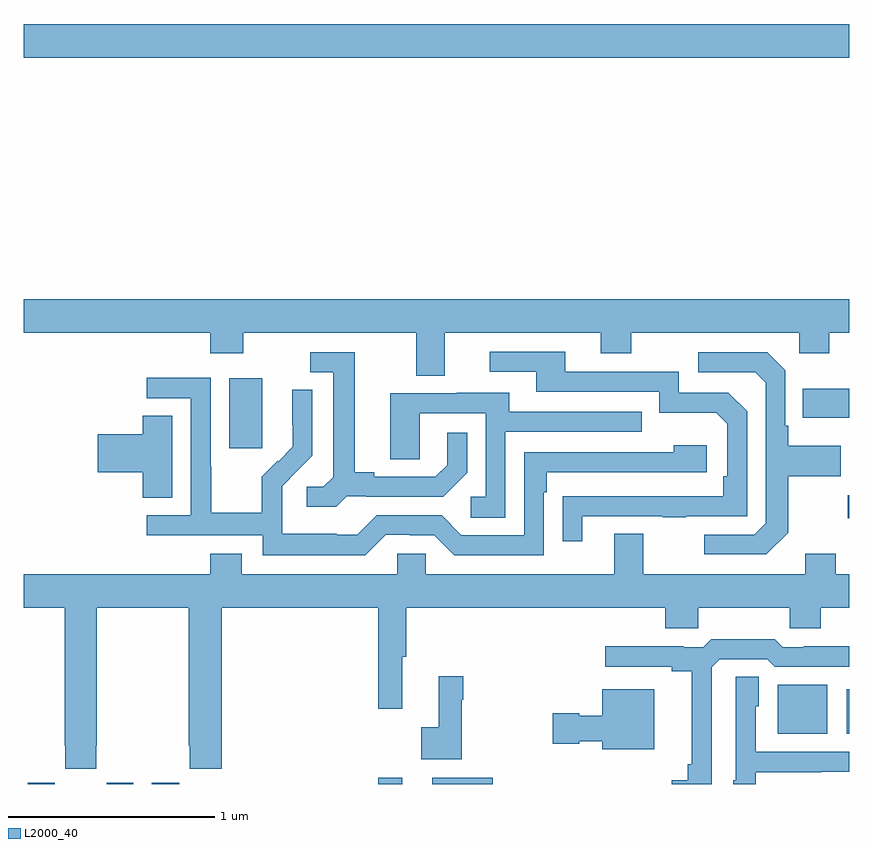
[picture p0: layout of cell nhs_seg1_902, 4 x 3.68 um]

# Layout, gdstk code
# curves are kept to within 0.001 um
import gdstk
lib = gdstk.Library(unit=1e-6, precision=1e-09)
def R(c, l, rs):  # rectangles x0, y0, x1, y1
    for r in rs: c.add(gdstk.rectangle(r[:2], r[2:], *l))
def P(c, l, *ps):  # polygons
    for p in ps: c.add(gdstk.Polygon(p, *l))
L2000_40 = (2000, 40)

nhs_seg1_902 = lib.new_cell('nhs_seg1_902')
R(nhs_seg1_902, L2000_40, [(159.02,564.199,159.15,564.205), (159.402,564.199,159.532,564.205), (159.62,564.199,159.754,564.205), (160.717,564.199,160.834,564.229), (160.979,564.199,161.272,564.229), (162.653,564.443,162.892,564.679), (162.986,564.443,163,564.658), (162.993,565.485,163,565.598), (159.995,565.824,160.156,566.164), (162.775,565.973,163,566.113), (159,567.716,163,567.88)])
P(nhs_seg1_902, L2000_40, [(161.041,566.384),(161.795,566.384),(161.795,566.285),(161.943,566.285),(161.943,566.384),(162.756,566.384),(162.756,566.285),(162.903,566.285),(162.903,566.384),(163,566.384),(163,566.548),(159,566.548),(159,566.384),(159.905,566.384),(159.905,566.285),(160.065,566.285),(160.065,566.384),(160.901,566.384),(160.901,566.176),(161.041,566.176)],
  [(161.707,565.497),(162.097,565.497),(162.097,565.492),(162.209,565.492),(162.209,565.497),(162.504,565.497),(162.504,566.004),(162.414,566.094),(162.174,566.094),(162.174,566.196),(161.623,566.196),(161.623,566.292),(161.259,566.292),(161.259,566.196),(161.483,566.196),(161.483,566.1),(162.078,566.1),(162.078,565.997),(162.355,565.997),(162.408,565.944),(162.408,565.69),(162.388,565.69),(162.388,565.593),(161.611,565.592),(161.611,565.374),(161.707,565.374)],
  [(160.566,565.593),(160.66,565.593),(160.66,565.59),(161.032,565.59),(161.148,565.706),(161.148,565.9),(161.051,565.9),(161.051,565.743),(160.994,565.686),(160.699,565.686),(160.699,565.709),(160.603,565.709),(160.603,566.289),(160.389,566.289),(160.389,566.193),(160.499,566.193),(160.499,565.685),(160.452,565.638),(160.371,565.638),(160.371,565.541),(160.514,565.541)],
  [(162.703,565.417),(162.703,565.69),(162.959,565.69),(162.959,565.837),(162.703,565.837),(162.703,565.933),(162.69,565.933),(162.69,566.202),(162.603,566.289),(162.267,566.289),(162.267,566.193),(162.543,566.193),(162.594,566.142),(162.594,565.461),(162.54,565.407),(162.297,565.407),(162.297,565.311),(162.597,565.311)],
  [(160.755,565.407),(160.871,565.407),(160.871,565.404),(160.989,565.404),(161.085,565.308),(161.52,565.308),(161.52,565.613),(161.533,565.613),(161.533,565.71),(162.31,565.71),(162.31,565.84),(162.149,565.84),(162.149,565.806),(161.424,565.806),(161.424,565.404),(161.121,565.404),(161.025,565.5),(160.71,565.5),(160.617,565.407),(160.517,565.407),(160.517,565.411),(160.254,565.411),(160.254,565.545),(160.252,565.545),(160.252,565.642),(160.398,565.79),(160.398,566.108),(160.301,566.108),(160.301,565.936),(160.304,565.936),(160.304,565.832),(160.233,565.761),(160.23,565.764),(160.153,565.687),(160.153,565.513),(159.909,565.513),(159.909,565.736),(159.906,565.736),(159.906,566.166),(159.597,566.166),(159.597,566.067),(159.81,566.067),(159.81,565.5),(159.597,565.5),(159.597,565.404),(160.158,565.404),(160.158,565.307),(160.655,565.307)],
  [(161.334,565.905),(161.993,565.905),(161.993,566.001),(161.353,566.001),(161.353,566.095),(161.099,566.095),(161.099,566.091),(160.775,566.091),(160.775,565.771),(160.92,565.771),(160.92,565.995),(161.238,565.995),(161.238,565.59),(161.166,565.59),(161.166,565.489),(161.334,565.489)],
  [(159.721,565.982),(159.578,565.982),(159.578,565.892),(159.36,565.892),(159.36,565.709),(159.578,565.709),(159.578,565.585),(159.721,565.585)],
  [(159.351,564.385),(159.354,564.385),(159.354,565.052),(159.799,565.052),(159.799,564.385),(159.805,564.385),(159.805,564.273),(159.959,564.273),(159.959,565.052),(160.717,565.052),(160.717,564.564),(160.835,564.564),(160.835,564.816),(160.853,564.816),(160.853,565.052),(162.107,565.052),(162.107,564.954),(162.267,564.954),(162.267,565.052),(162.712,565.052),(162.712,564.954),(162.862,564.954),(162.862,565.052),(163,565.052),(163,565.216),(162.933,565.216),(162.933,565.315),(162.785,565.315),(162.785,565.216),(162.001,565.216),(162.001,565.411),(161.861,565.411),(161.861,565.216),(160.947,565.216),(160.947,565.314),(160.809,565.314),(160.809,565.216),(160.057,565.216),(160.057,565.315),(159.905,565.315),(159.905,565.216),(159,565.216),(159,565.052),(159.199,565.052),(159.199,564.385),(159.201,564.385),(159.201,564.273),(159.351,564.273)],
  [(162.333,564.765),(162.372,564.804),(162.603,564.804),(162.639,564.768),(163,564.768),(163,564.866),(162.778,564.866),(162.778,564.861),(162.678,564.861),(162.639,564.901),(162.331,564.901),(162.291,564.861),(162.197,564.861),(162.197,564.866),(161.817,564.866),(161.817,564.768),(162.14,564.768),(162.14,564.746),(162.236,564.746),(162.236,564.295),(162.217,564.295),(162.217,564.218),(162.14,564.218),(162.14,564.199),(162.333,564.199)],
  [(161.122,564.608),(161.129,564.608),(161.129,564.721),(161.012,564.721),(161.012,564.473),(160.926,564.473),(160.926,564.32),(161.122,564.32)],
  [(162.546,564.257),(162.863,564.257),(162.863,564.258),(163,564.258),(163,564.354),(162.546,564.354),(162.546,564.576),(162.562,564.576),(162.562,564.719),(162.45,564.719),(162.45,564.216),(162.437,564.216),(162.437,564.199),(162.546,564.199)],
  [(162.055,564.658),(161.804,564.658),(161.804,564.529),(161.691,564.529),(161.691,564.542),(161.562,564.542),(161.562,564.395),(161.691,564.395),(161.691,564.407),(161.804,564.407),(161.804,564.368),(162.055,564.368)])

lib.write_gds('nhs_seg1_902.gds')
